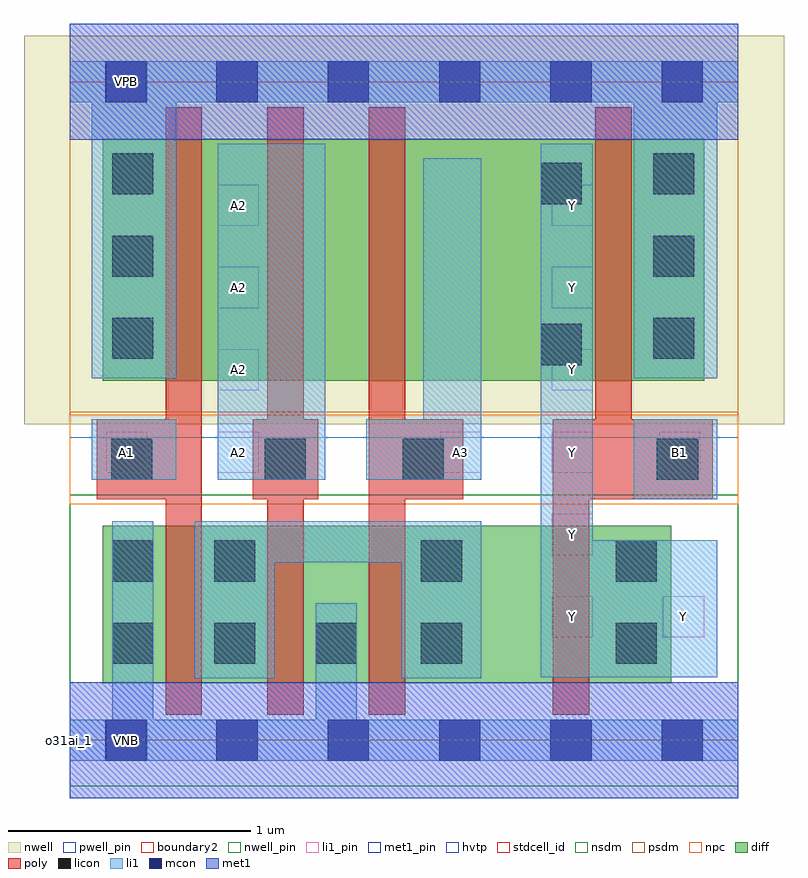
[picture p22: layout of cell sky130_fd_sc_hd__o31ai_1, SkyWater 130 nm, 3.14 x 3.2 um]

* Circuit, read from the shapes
.subckt sky130_fd_sc_hd__o31ai_1 A1 A2 A3 B1 VGND VNB VPB VPWR Y
XM1 n1 A1 VGND VNB sky130_fd_pr__nfet_01v8 w=0.65 l=0.15
XM2 VGND A2 n1 VNB sky130_fd_pr__nfet_01v8 w=0.65 l=0.15
XM3 n1 A3 VGND VNB sky130_fd_pr__nfet_01v8 w=0.65 l=0.15
XM4 Y B1 n1 VNB sky130_fd_pr__nfet_01v8 w=0.65 l=0.15
XM5 n2 A1 VPWR VPB sky130_fd_pr__pfet_01v8_hvt w=1 l=0.15
XM6 n3 A2 n2 VPB sky130_fd_pr__pfet_01v8_hvt w=1 l=0.15
XM7 Y A3 n3 VPB sky130_fd_pr__pfet_01v8_hvt w=1 l=0.15
XM8 VPWR B1 Y VPB sky130_fd_pr__pfet_01v8_hvt w=1 l=0.15
.ends

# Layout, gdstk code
import gdstk
lib = gdstk.Library(unit=1e-6, precision=1e-09)
def R(c, l, rs):  # rectangles x0, y0, x1, y1
    for r in rs: c.add(gdstk.rectangle(r[:2], r[2:], *l))
def A(c, l, x, y, w, h, nx, ny, dx, dy):  # array of equal rectangles
    R(c, l, [(x+i*dx, y+j*dy, x+i*dx+w, y+j*dy+h) for i in range(nx) for j in range(ny)])
def P(c, l, *ps):  # polygons
    for p in ps: c.add(gdstk.Polygon(p, *l))
nwell_pin = (64, 16)
nwell = (64, 20)
diff = (65, 20)
poly = (66, 20)
licon = (66, 44)
li1_pin = (67, 16)
li1 = (67, 20)
mcon = (67, 44)
met1_pin = (68, 16)
met1 = (68, 20)
hvtp = (78, 44)
stdcell_id = (81, 4)
nsdm = (93, 44)
psdm = (94, 20)
npc = (95, 20)
pwell_pin = (122, 16)
boundary2 = (236, 0)

sky130_fd_sc_hd__o31ai_1 = lib.new_cell('sky130_fd_sc_hd__o31ai_1')
R(sky130_fd_sc_hd__o31ai_1, nwell_pin, [(0.15,2.635,0.32,2.805)])
R(sky130_fd_sc_hd__o31ai_1, nwell, [(-0.19,1.305,2.95,2.91)])
R(sky130_fd_sc_hd__o31ai_1, diff, [(0.135,0.235,2.485,0.885), (0.135,1.485,2.62,2.485)])
P(sky130_fd_sc_hd__o31ai_1, poly, [(0.545,2.615),(0.395,2.615),(0.395,1.325),(0.11,1.325),(0.11,0.995),(0.395,0.995),(0.395,0.105),(0.545,0.105)],
  [(1.025,1.325),(0.965,1.325),(0.965,2.615),(0.815,2.615),(0.815,1.325),(0.755,1.325),(0.755,0.995),(0.815,0.995),(0.815,0.105),(0.965,0.105),(0.965,0.995),(1.025,0.995)],
  [(1.625,1.325),(1.385,1.325),(1.385,2.615),(1.235,2.615),(1.235,0.105),(1.385,0.105),(1.385,0.995),(1.625,0.995)],
  [(2.655,1.325),(2.32,1.325),(2.32,2.615),(2.17,2.615),(2.17,1.325),(1.995,1.325),(1.995,0.105),(2.145,0.105),(2.145,0.995),(2.655,0.995)])
A(sky130_fd_sc_hd__o31ai_1, licon, 0.175, 0.315, 0.17, 0.17, 3, 1, 0.42, 0)
A(sky130_fd_sc_hd__o31ai_1, licon, 0.175, 1.575, 0.17, 0.17, 1, 3, 0, 0.34)
A(sky130_fd_sc_hd__o31ai_1, licon, 2.41, 1.575, 0.17, 0.17, 1, 3, 0, 0.34)
R(sky130_fd_sc_hd__o31ai_1, licon, [(1.45,0.315,1.62,0.485), (2.255,0.315,2.425,0.485), (0.175,0.655,0.345,0.825), (0.595,0.655,0.765,0.825), (1.45,0.655,1.62,0.825), (2.255,0.655,2.425,0.825), (0.17,1.075,0.34,1.245), (0.805,1.075,0.975,1.245), (1.375,1.075,1.545,1.245), (2.425,1.075,2.595,1.245), (1.945,1.55,2.115,1.72), (1.945,2.215,2.115,2.385)])
A(sky130_fd_sc_hd__o31ai_1, li1_pin, 1.99, 0.425, 0.17, 0.17, 1, 6, 0, 0.34)
A(sky130_fd_sc_hd__o31ai_1, li1_pin, 0.61, 1.105, 0.17, 0.17, 1, 4, 0, 0.34)
R(sky130_fd_sc_hd__o31ai_1, li1_pin, [(2.45,0.425,2.62,0.595), (0.15,1.105,0.32,1.275), (1.53,1.105,1.7,1.275), (2.435,1.105,2.605,1.275)])
R(sky130_fd_sc_hd__o31ai_1, li1, [(2.33,0.995,2.675,1.325), (0.09,1.075,0.44,1.325), (0.61,1.075,1.055,2.465)])
P(sky130_fd_sc_hd__o31ai_1, li1, [(2.76,0.085),(1.185,0.085),(1.185,0.565),(1.015,0.565),(1.015,0.085),(0.345,0.085),(0.345,0.905),(0.175,0.905),(0.175,0.085),(0,0.085),(0,-0.085),(2.76,-0.085)],
  [(1.225,1.075),(1.225,1.325),(1.46,1.325),(1.46,2.405),(1.7,2.405),(1.7,1.075)],
  [(1.7,0.905),(0.515,0.905),(0.515,0.255),(0.845,0.255),(0.845,0.735),(1.37,0.735),(1.37,0.255),(1.7,0.255)],
  [(2.675,0.825),(2.16,0.825),(2.16,2.465),(1.945,2.465),(1.945,0.26),(2.675,0.26)],
  [(2.76,2.805),(0,2.805),(0,2.635),(0.09,2.635),(0.09,1.495),(0.44,1.495),(0.44,2.635),(2.33,2.635),(2.33,1.495),(2.675,1.495),(2.675,2.635),(2.76,2.635)])
A(sky130_fd_sc_hd__o31ai_1, mcon, 0.145, -0.085, 0.17, 0.17, 6, 2, 0.46, 2.72)
R(sky130_fd_sc_hd__o31ai_1, met1_pin, [(0.15,-0.085,0.32,0.085), (0.15,2.635,0.32,2.805)])
R(sky130_fd_sc_hd__o31ai_1, hvtp, [(0,1.25,2.76,2.72)])
R(sky130_fd_sc_hd__o31ai_1, stdcell_id, [(0,0,2.76,2.72)])
R(sky130_fd_sc_hd__o31ai_1, nsdm, [(0,-0.19,2.76,1.015)])
R(sky130_fd_sc_hd__o31ai_1, psdm, [(0,1.355,2.76,2.91)])
R(sky130_fd_sc_hd__o31ai_1, npc, [(0,0.975,2.76,1.345)])
R(sky130_fd_sc_hd__o31ai_1, pwell_pin, [(0.15,-0.085,0.32,0.085)])
R(sky130_fd_sc_hd__o31ai_1, boundary2, [(0,0,2.76,2.72)])
sky130_fd_sc_hd__o31ai_1.add(gdstk.FlexPath([(0,2.72),(2.76,2.72)], 0.48, ends="flush", simple_path=True, layer=68, datatype=20))  # met1
sky130_fd_sc_hd__o31ai_1.add(gdstk.FlexPath([(0,0),(2.76,0)], 0.48, ends="flush", simple_path=True, layer=68, datatype=20))  # met1
sky130_fd_sc_hd__o31ai_1.add(gdstk.Label('Y', (2.075,0.51), layer=67, texttype=5))
sky130_fd_sc_hd__o31ai_1.add(gdstk.Label('A2', (0.695,1.53), layer=67, texttype=5))
sky130_fd_sc_hd__o31ai_1.add(gdstk.Label('Y', (2.075,0.85), layer=67, texttype=5))
sky130_fd_sc_hd__o31ai_1.add(gdstk.Label('A1', (0.235,1.19), layer=67, texttype=5))
sky130_fd_sc_hd__o31ai_1.add(gdstk.Label('A2', (0.695,1.19), layer=67, texttype=5))
sky130_fd_sc_hd__o31ai_1.add(gdstk.Label('A3', (1.615,1.19), layer=67, texttype=5))
sky130_fd_sc_hd__o31ai_1.add(gdstk.Label('B1', (2.52,1.19), layer=67, texttype=5))
sky130_fd_sc_hd__o31ai_1.add(gdstk.Label('Y', (2.535,0.51), layer=67, texttype=5))
sky130_fd_sc_hd__o31ai_1.add(gdstk.Label('A2', (0.695,2.21), layer=67, texttype=5))
sky130_fd_sc_hd__o31ai_1.add(gdstk.Label('A2', (0.695,1.87), layer=67, texttype=5))
sky130_fd_sc_hd__o31ai_1.add(gdstk.Label('Y', (2.075,1.19), layer=67, texttype=5))
sky130_fd_sc_hd__o31ai_1.add(gdstk.Label('Y', (2.075,1.53), layer=67, texttype=5))
sky130_fd_sc_hd__o31ai_1.add(gdstk.Label('Y', (2.075,1.87), layer=67, texttype=5))
sky130_fd_sc_hd__o31ai_1.add(gdstk.Label('Y', (2.075,2.21), layer=67, texttype=5))
sky130_fd_sc_hd__o31ai_1.add(gdstk.Label('VPB', (0.235,2.72), layer=64, texttype=5))
sky130_fd_sc_hd__o31ai_1.add(gdstk.Label('VNB', (0.235,0), layer=64, texttype=59))
sky130_fd_sc_hd__o31ai_1.add(gdstk.Label('VPWR', (0.235,2.72), layer=68, texttype=5))
sky130_fd_sc_hd__o31ai_1.add(gdstk.Label('VGND', (0.235,0), layer=68, texttype=5))
sky130_fd_sc_hd__o31ai_1.add(gdstk.Label('o31ai_1', (0,0), layer=83, texttype=44))

lib.write_gds('sky130_fd_sc_hd__o31ai_1.gds')
